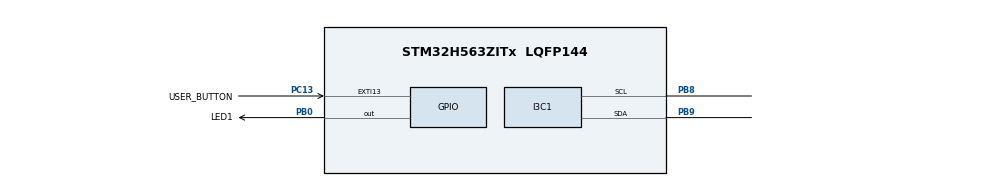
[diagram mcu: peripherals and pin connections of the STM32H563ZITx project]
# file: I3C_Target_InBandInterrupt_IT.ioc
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CORTEX_M33_NS.userName=CORTEX_M33
I3C1.IBIPayload=ENABLE
I3C1.IBIRequest=ENABLE
I3C1.Identifier=0xC6
I3C1.MIPIIdentifier=DEVICE_ID
I3C1.Register1=0x000000f8
I3C1.hexBusAvailableDuration=0xf8
Mcu.Family=STM32H5
Mcu.Name=STM32H563ZITx
Mcu.Package=LQFP144
Mcu.UserConstants=DEVICE_ID,0x01
NVIC.EXTI13_IRQn=true\:0\:0\:false\:false\:true\:true\:true\:true
NVIC.I3C1_ER_IRQn=true\:0\:0\:false\:false\:true\:true\:true\:true
NVIC.I3C1_EV_IRQn=true\:0\:0\:false\:false\:true\:true\:true\:true
NVIC.PriorityGroup=NVIC_PRIORITYGROUP_4
PB0.GPIO_Label=LED1
PB0.Signal=GPIO_Output
PB8.Mode=Target
PB8.Signal=I3C1_SCL
PB9.Mode=Target
PB9.Signal=I3C1_SDA
PC13.GPIO_Label=USER_BUTTON
PC13.GPIO_PuPd=GPIO_PULLDOWN
PC13.Signal=GPXTI13
PH0-OSC_IN(PH0).Mode=HSE-DIG-External-Clock-Source
PH0-OSC_IN(PH0).Signal=RCC_OSC_IN
ProjectManager.HeapSize=0x200
ProjectManager.StackSize=0x400
ProjectManager.TargetToolchain=EWARM V9.20
RCC.ADCFreq_Value=250000000
RCC.AHBFreq_Value=250000000
RCC.APB1Freq_Value=250000000
RCC.APB1TimFreq_Value=250000000
RCC.APB2Freq_Value=250000000
RCC.APB2TimFreq_Value=250000000
RCC.APB3Freq_Value=250000000
RCC.CSI_VALUE=4000000
RCC.CortexFreq_Value=250000000
RCC.EPOD_VALUE=8000000
RCC.HCLKFreq_Value=250000000
RCC.HSE_VALUE=8000000
RCC.HSI48_VALUE=48000000
RCC.HSIDiv=RCC_HSI_DIV1
RCC.HSI_VALUE=64000000
RCC.LSE_VALUE=32768
RCC.LSIRC_VALUE=32000
RCC.PLLFRACN=0
RCC.PLLM=4
RCC.PLLN=250
RCC.PLLSourceVirtual=RCC_PLL1_SOURCE_HSE
RCC.PWR_Regulator_Voltage_Scale=PWR_REGULATOR_VOLTAGE_SCALE0
RCC.SYSCLKFreq_VALUE=250000000
RCC.SYSCLKSource=RCC_SYSCLKSOURCE_PLLCLK
RCC.USBFreq_Value=48000000
RCC.VCOOutputFreq_Value=500000000
VP_ICACHE_VS_ICACHE.Mode=DefaultMode
VP_PWR_VS_SECSignals.Mode=Security/Privilege
board=custom

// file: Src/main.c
/* USER CODE BEGIN Header */
/**
  ******************************************************************************
  * @file    I3C/I3C_Target_InBandInterrupt_IT/Src/main.c
  * @author  MCD Application Team
  * @brief   This sample code shows how to use STM32H5xx I3C LL API to
  *          launch an In-Band-Interrupt procedure to a Controller
  *          with a communication process based on Interrupt transfer.
  ******************************************************************************
  * @attention
  *
  * Copyright (c) 2023 STMicroelectronics.
  * All rights reserved.
  *
  * This software is licensed under terms that can be found in the LICENSE file
  * in the root directory of this software component.
  * If no LICENSE file comes with this software, it is provided AS-IS.
  *
  ******************************************************************************
  */
/* USER CODE END Header */
#include "main.h"

/* USER CODE BEGIN PV */
__IO uint8_t ubButtonPress = 0;

/* Contain the IBI Payload */
uint8_t ubPayloadBuffer[] = {0xAB};

/* Completion status */
__IO uint8_t ubDynamicAddressCplt = 0;
__IO uint8_t ubIBIcplt = 0;
/* USER CODE END PV */

void SystemClock_Config(void);
static void MX_GPIO_Init(void);
static void MX_I3C1_Init(void);
static void MX_ICACHE_Init(void);
/* USER CODE BEGIN PFP */
void LED_On(void);
void LED_Off(void);
void LED_Toggle(void);
void LED_Blinking(uint32_t Period);
void WaitForUserButtonPress(void);
void Handle_IBI_Target(void);
/* USER CODE END PFP */

int main(void)
{

  /* MCU Configuration--------------------------------------------------------*/

  /* Reset of all peripherals, Initializes the Flash interface and the Systick. */

  /* System interrupt init*/
  NVIC_SetPriorityGrouping(NVIC_PRIORITYGROUP_4);

  /* SysTick_IRQn interrupt configuration */
  NVIC_SetPriority(SysTick_IRQn, NVIC_EncodePriority(NVIC_GetPriorityGrouping(),15, 0));

  /* Configure the system clock */
  SystemClock_Config();

  /* Initialize all configured peripherals */
  MX_GPIO_Init();
  MX_I3C1_Init();
  MX_ICACHE_Init();
  /* USER CODE BEGIN 2 */
  /* Set LED1 Off */
  LED_Off();

  /* Wait Dynamic Address completion */
  while(ubDynamicAddressCplt == 0U);

  /* USER CODE END 2 */

  /* Infinite loop */
  /* USER CODE BEGIN WHILE */
  while (1)
  {
    /* Wait for USER push-button press to start transfer */
    WaitForUserButtonPress();

    /*##- Send IBI request ###############################################*/
    /* Handle In Band Interrupt request */
    Handle_IBI_Target();

    /* Wait for IBI process ending */
    while(ubIBIcplt == 0U)
    {
    }

    /* Reset Global variable */
    ubIBIcplt = 0U;
    /* USER CODE END WHILE */

  }
}

void SystemClock_Config(void)
{
  LL_FLASH_SetLatency(LL_FLASH_LATENCY_5);
  while(LL_FLASH_GetLatency()!= LL_FLASH_LATENCY_5)
  {
  }

  LL_PWR_SetRegulVoltageScaling(LL_PWR_REGU_VOLTAGE_SCALE0);
  while (LL_PWR_IsActiveFlag_VOS() == 0)
  {
  }
  LL_RCC_HSE_EnableBypass();
  LL_RCC_HSE_SetExternalClockType(LL_RCC_HSE_DIGITAL_TYPE);
  LL_RCC_HSE_Enable();

   /* Wait till HSE is ready */
  while(LL_RCC_HSE_IsReady() != 1)
  {
  }

  LL_RCC_PLL1_SetSource(LL_RCC_PLL1SOURCE_HSE);
  LL_RCC_PLL1_SetVCOInputRange(LL_RCC_PLLINPUTRANGE_2_4);
  LL_RCC_PLL1_SetVCOOutputRange(LL_RCC_PLLVCORANGE_WIDE);
  LL_RCC_PLL1_SetM(4);
  LL_RCC_PLL1_SetN(250);
  LL_RCC_PLL1_SetP(2);
  LL_RCC_PLL1_SetQ(2);
  LL_RCC_PLL1_SetR(2);
  LL_RCC_PLL1P_Enable();
  LL_RCC_PLL1_Enable();

   /* Wait till PLL is ready */
  while(LL_RCC_PLL1_IsReady() != 1)
  {
  }

  LL_RCC_SetSysClkSource(LL_RCC_SYS_CLKSOURCE_PLL1);

   /* Wait till System clock is ready */
  while(LL_RCC_GetSysClkSource() != LL_RCC_SYS_CLKSOURCE_STATUS_PLL1)
  {
  }

  LL_RCC_SetAHBPrescaler(LL_RCC_SYSCLK_DIV_1);
  LL_RCC_SetAPB1Prescaler(LL_RCC_APB1_DIV_1);
  LL_RCC_SetAPB2Prescaler(LL_RCC_APB2_DIV_1);
  LL_RCC_SetAPB3Prescaler(LL_RCC_APB3_DIV_1);

  LL_Init1msTick(250000000);

  LL_SetSystemCoreClock(250000000);
}

static void MX_I3C1_Init(void)
{

  LL_GPIO_InitTypeDef GPIO_InitStruct = {0};

  LL_RCC_SetI3CClockSource(LL_RCC_I3C1_CLKSOURCE_PCLK1);

  /* Peripheral clock enable */
  LL_APB1_GRP1_EnableClock(LL_APB1_GRP1_PERIPH_I3C1);

  LL_AHB2_GRP1_EnableClock(LL_AHB2_GRP1_PERIPH_GPIOB);
  /**I3C1 GPIO Configuration
  PB8   ------> I3C1_SCL
  PB9   ------> I3C1_SDA
  */
  GPIO_InitStruct.Pin = LL_GPIO_PIN_8|LL_GPIO_PIN_9;
  GPIO_InitStruct.Mode = LL_GPIO_MODE_ALTERNATE;
  GPIO_InitStruct.Speed = LL_GPIO_SPEED_FREQ_VERY_HIGH;
  GPIO_InitStruct.Pull = LL_GPIO_PULL_NO;
  GPIO_InitStruct.Alternate = LL_GPIO_AF_3;
  LL_GPIO_Init(GPIOB, &GPIO_InitStruct);

  /* I3C1 interrupt Init */
  NVIC_SetPriority(I3C1_EV_IRQn, NVIC_EncodePriority(NVIC_GetPriorityGrouping(),0, 0));
  NVIC_EnableIRQ(I3C1_EV_IRQn);
  NVIC_SetPriority(I3C1_ER_IRQn, NVIC_EncodePriority(NVIC_GetPriorityGrouping(),0, 0));
  NVIC_EnableIRQ(I3C1_ER_IRQn);

  /** I3C Initialization
  */
  LL_I3C_SetMode(I3C1, LL_I3C_MODE_TARGET);
  LL_I3C_SetAvalTiming(I3C1, 0x000000f8);

  /** Configure FIFO
  */
  LL_I3C_SetRxFIFOThreshold(I3C1, LL_I3C_RXFIFO_THRESHOLD_1_4);
  LL_I3C_SetTxFIFOThreshold(I3C1, LL_I3C_TXFIFO_THRESHOLD_1_4);
  LL_I3C_DisableControlFIFO(I3C1);
  LL_I3C_DisableStatusFIFO(I3C1);

  /** Configure Target
  */
  LL_I3C_SetDeviceCharacteristics(I3C1, 0xC6);
  LL_I3C_SetMIPIInstanceID(I3C1, DEVICE_ID);
  LL_I3C_DisableControllerRoleReq(I3C1);
  LL_I3C_DisableHotJoin(I3C1);
  LL_I3C_EnableIBI(I3C1);
  LL_I3C_SetDeviceIBIPayload(I3C1, LL_I3C_IBI_ADDITIONAL_DATA);
  LL_I3C_ConfigNbIBIAddData(I3C1, LL_I3C_PAYLOAD_1_BYTE);
  LL_I3C_SetMaxReadLength(I3C1, 0);
  LL_I3C_SetMaxWriteLength(I3C1, 0);
  LL_I3C_SetDeviceCapabilityOnBus(I3C1, LL_I3C_DEVICE_ROLE_AS_TARGET);
  LL_I3C_SetGrpAddrHandoffSupport(I3C1, LL_I3C_HANDOFF_GRP_ADDR_NOT_SUPPORTED);
  LL_I3C_SetDataTurnAroundTime(I3C1, LL_I3C_TURNAROUND_TIME_TSCO_LESS_12NS);
  LL_I3C_SetMiddleByteTurnAround(I3C1, 0);
  LL_I3C_SetDataSpeedLimitation(I3C1, LL_I3C_NO_DATA_SPEED_LIMITATION);
  LL_I3C_SetMaxDataSpeedFormat(I3C1, LL_I3C_GETMXDS_FORMAT_1);
  LL_I3C_SetHandoffActivityState(I3C1, LL_I3C_HANDOFF_ACTIVITY_STATE_0);
  LL_I3C_SetControllerHandoffDelayed(I3C1, LL_I3C_HANDOFF_NOT_DELAYED);
  LL_I3C_SetPendingReadMDB(I3C1, LL_I3C_MDB_NO_PENDING_READ_NOTIFICATION);

  /** Enable the selected I3C peripheral
  */
  LL_I3C_Enable(I3C1);
  /* USER CODE BEGIN I3C1_Init 2 */
  LL_I3C_EnableIT_DAUPD(I3C1);
  LL_I3C_EnableIT_IBIEND(I3C1);
  LL_I3C_EnableIT_ERR(I3C1);
  /* USER CODE END I3C1_Init 2 */

}

static void MX_ICACHE_Init(void)
{

  /** Enable instruction cache (default 2-ways set associative cache)
  */
  LL_ICACHE_Enable();

}

static void MX_GPIO_Init(void)
{
  LL_EXTI_InitTypeDef EXTI_InitStruct = {0};
  LL_GPIO_InitTypeDef GPIO_InitStruct = {0};

  /* GPIO Ports Clock Enable */
  LL_AHB2_GRP1_EnableClock(LL_AHB2_GRP1_PERIPH_GPIOC);
  LL_AHB2_GRP1_EnableClock(LL_AHB2_GRP1_PERIPH_GPIOH);
  LL_AHB2_GRP1_EnableClock(LL_AHB2_GRP1_PERIPH_GPIOB);

  /**/
  LL_GPIO_ResetOutputPin(LED1_GPIO_Port, LED1_Pin);

  /**/
  LL_EXTI_SetEXTISource(LL_EXTI_EXTI_PORTC, LL_EXTI_EXTI_LINE13);

  /**/
  EXTI_InitStruct.Line_0_31 = LL_EXTI_LINE_13;
  EXTI_InitStruct.Line_32_63 = LL_EXTI_LINE_NONE;
  EXTI_InitStruct.LineCommand = ENABLE;
  EXTI_InitStruct.Mode = LL_EXTI_MODE_IT;
  EXTI_InitStruct.Trigger = LL_EXTI_TRIGGER_RISING;
  LL_EXTI_Init(&EXTI_InitStruct);

  /**/
  LL_GPIO_SetPinPull(USER_BUTTON_GPIO_Port, USER_BUTTON_Pin, LL_GPIO_PULL_DOWN);

  /**/
  LL_GPIO_SetPinMode(USER_BUTTON_GPIO_Port, USER_BUTTON_Pin, LL_GPIO_MODE_INPUT);

  /**/
  GPIO_InitStruct.Pin = LED1_Pin;
  GPIO_InitStruct.Mode = LL_GPIO_MODE_OUTPUT;
  GPIO_InitStruct.Speed = LL_GPIO_SPEED_FREQ_LOW;
  GPIO_InitStruct.OutputType = LL_GPIO_OUTPUT_PUSHPULL;
  GPIO_InitStruct.Pull = LL_GPIO_PULL_NO;
  LL_GPIO_Init(LED1_GPIO_Port, &GPIO_InitStruct);

  /* EXTI interrupt init*/
  NVIC_SetPriority(EXTI13_IRQn, NVIC_EncodePriority(NVIC_GetPriorityGrouping(),0, 0));
  NVIC_EnableIRQ(EXTI13_IRQn);

}

/* USER CODE BEGIN 4 */
/**
  * @brief  Turn-on LED1.
  * @param  None
  * @retval None
  */
void LED_On(void)
{
  /* Turn LED1 on */
  LL_GPIO_SetOutputPin(LED1_GPIO_Port, LED1_Pin);
}

/**
  * @brief  Turn-off LED1.
  * @param  None
  * @retval None
  */
void LED_Off(void)
{
  /* Turn LED1 off */
  LL_GPIO_ResetOutputPin(LED1_GPIO_Port, LED1_Pin);
}

/**
  * @brief  Toggle LED1.
  * @param  None
  * @retval None
  */
void LED_Toggle(void)
{
  /* Toggle LED1 on */
  LL_GPIO_TogglePin(LED1_GPIO_Port, LED1_Pin);
}

/**
  * @brief  Set LED1 to Blinking mode for an infinite loop (toggle period based on value provided as input parameter).
  * @param  Period : Period of time (in ms) between each toggling of LED
  *   This parameter can be user defined values. Pre-defined values used in that example are :
  *     @arg LED_BLINK_FAST : Fast Blinking
  *     @arg LED_BLINK_SLOW : Slow Blinking
  *     @arg LED_BLINK_ERROR : Error specific Blinking
  * @retval None
  */
void LED_Blinking(uint32_t Period)
{
  /* Turn LED1 on */
  LED_On();

  /* Toggle IO in an infinite loop */
  while (1)
  {
    LED_Toggle();
    LL_mDelay(Period);
  }
}

/**
  * @brief  This Function handle Target events to perform a IBI process
  * @note  This function is composed in one step :
  *        -1- Initiate the In Band Interrupt request.
  * @param  None
  * @retval None
  */
void Handle_IBI_Target(void)
{
  /* (1) Initiate a Hot Join Request to the Controller connected on the bus ***********************/
  /* Target initiate a Start condition to inform Controller that Target request an asynchronous Interrupt.
  */
  /* Set IBI Payload */
  LL_I3C_SetIBIPayload(I3C1, ubPayloadBuffer[0]);

  /* Initiate IBI request */
  LL_I3C_TargetHandleMessage(I3C1, LL_I3C_TARGET_MTYPE_IBI, 1U);
}

/******************************************************************************/
/*   IRQ HANDLER TREATMENT Functions                                          */
/******************************************************************************/
/**
  * @brief  Wait for USER push-button press to start transfer.
  * @param  None
  * @retval None
  */
/*  */
void WaitForUserButtonPress(void)
{
  while (ubButtonPress == 0)
  {
    LED_Toggle();
    LL_mDelay(LED_BLINK_FAST);
  }
  /* Turn LED1 off */
  LED_Off();

  /* Reset Variable */
  ubButtonPress = 0;
}

/**
  * @brief  Function to manage USER push-button
  * @param  None
  * @retval None
  */
void UserButton_Callback(void)
{
  /* Update USER push-button variable : to be checked in waiting loop in main program */
  ubButtonPress = 1;
}

/**
  * @brief  Target Event treatment callback.
  * @param  targetPayload Parameter indicates the target payload.
  * @retval None
  */
void Target_Event_Treatment_Callback(void)
{
  /* Check Dynamic Address update flag in EVR register */
  if (LL_I3C_IsActiveFlag_DAUPD(I3C1))
  {
    /* Clear Dynamic Address update flag */
    LL_I3C_ClearFlag_DAUPD(I3C1);

    /* Update Dynamic Address Completion Status */
    ubDynamicAddressCplt = 1;
  }

  /* Check IBI end process flag in EVR register */
  if (LL_I3C_IsActiveFlag_IBIEND(I3C1))
  {
    /* Clear IBI end process update flag */
    LL_I3C_ClearFlag_IBIEND(I3C1);

    /* Update IBI Completion Status */
    ubIBIcplt = 1;
  }

  LED_Toggle();
}
/* USER CODE END 4 */

void Error_Handler(void)
{
  /* USER CODE BEGIN Error_Handler_Debug */
  /* User can add his own implementation to report the LL error return state */
  while (1)
  {
    /* Unexpected event : Set LED1 to Blinking mode to indicate error occurs */
    LED_Blinking(LED_BLINK_ERROR);
  }
  /* USER CODE END Error_Handler_Debug */
}
